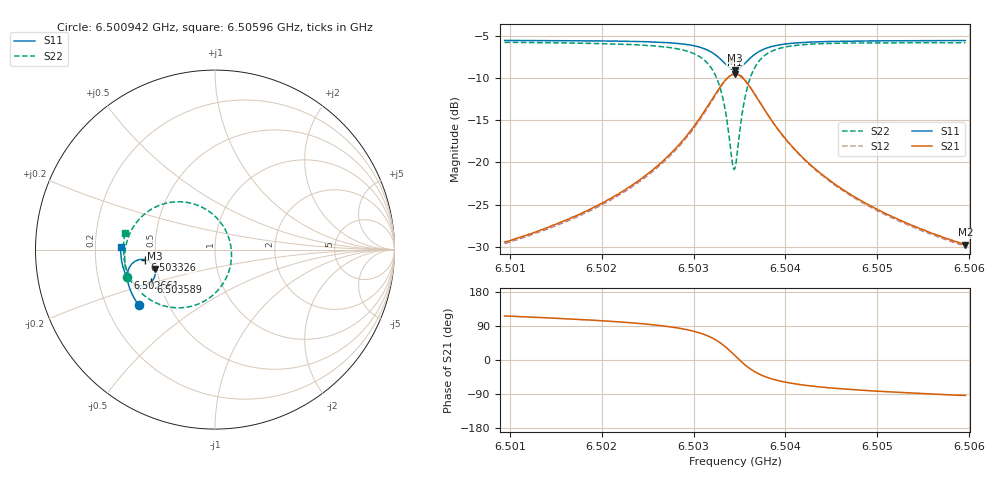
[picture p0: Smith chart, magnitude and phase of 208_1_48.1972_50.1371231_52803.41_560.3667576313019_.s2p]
#  HZ  S  RI  R  50.00
! Rohde & Schwarz Vector Network Analyzer
! Rohde-Schwarz,ZNB20-2Port,1311601062101988,3.16
! Created: UTC 3/20/2024, 11:45:19 AM
! freq[Hz]  re:S11  im:S11  re:S21  im:S21  re:S12  im:S12  re:S22  im:S22
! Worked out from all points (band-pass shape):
!   401 points, 6.500942 GHz to 6.50596 GHz, reference 50 ohm
!   highest |S21| = -9.56 dB at 6.503451 GHz (marker M1); lowest = -29.8 dB at 6.50596 GHz (marker M2)
!   |S21| within 3 dB of the highest: 6.5032 GHz to 6.503701 GHz (501.1 kHz wide, 0.0077 % of centre)
!   lowest |S11| = -9.1 dB at 6.503451 GHz (marker M3), VSWR 2.09, Z = 24.4 - j5.92 ohm
!   |S11| at or under -10 dB: nowhere
!   |S22| runs from -20.9 to -5.8 dB; largest |S21 - S12| = 0.012
!   S11 on the Smith chart (normalised r, x): 6.500942 GHz: 0.34, -0.29; 6.502661 GHz: 0.33, -0.14; 6.503326 GHz: 0.44, -0.06; 6.503589 GHz: 0.45, -0.19; 6.50596 GHz: 0.31, +0.01
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6.5009425e9  -0.426 -0.3095  -0.0148 0.0303  -0.0132 0.0302  -0.4898 -0.1547
6.5017829e9  -0.4621 -0.2473  -0.0143 0.0479  -0.0118 0.0475  -0.503 -0.0655
6.5022721e9  -0.4793 -0.2039  -0.0109 0.0689  -0.00787 0.0677  -0.4993 0.00471
6.5026233e9  -0.4874 -0.1646  -0.00228 0.0969  0.00139 0.0946  -0.4802 0.0758
6.5026609e9  -0.4877 -0.1596  -0.000492 0.1011  0.00333 0.0986  -0.4764 0.0853
6.5029369e9  -0.4837 -0.1167  0.0264 0.1439  0.0302 0.1393  -0.4204 0.1715
6.503125e9  -0.4621 -0.0785  0.081 0.1863  0.0836 0.18  -0.3158 0.2441
6.5032379e9  -0.4291 -0.0579  0.1508 0.2039  0.1516 0.1974  -0.1902 0.2664
6.5033257e9  -0.3884 -0.0563  0.2311 0.1872  0.2314 0.1822  -0.0515 0.2248
6.5034135e9  -0.3463 -0.0846  0.3082 0.1141  0.3106 0.1093  0.0712 0.0807
6.5034386e9  -0.3385 -0.0986  0.3214 0.0828  0.3246 0.0773  0.088 0.022
6.5034512e9  -0.3357 -0.1062  0.3258 0.0661  0.3291 0.0603  0.0916 -0.00888
6.5034762e9  -0.3328 -0.122  0.3292 0.0321  0.3328 0.025  0.0893 -0.0711
6.503539e9  -0.3401 -0.1596  0.3104 -0.0464  0.3125 -0.0567  0.0321 -0.2076
6.5035891e9  -0.3568 -0.1817  0.2763 -0.0924  0.276 -0.1037  -0.0455 -0.2788
6.5036895e9  -0.3968 -0.2006  0.1998 -0.1348  0.1946 -0.1449  -0.2015 -0.3245
6.5038525e9  -0.4452 -0.1927  0.1133 -0.1347  0.1063 -0.14  -0.3583 -0.2814
6.5040407e9  -0.4754 -0.17  0.0642 -0.1131  0.0578 -0.1152  -0.4385 -0.211
6.5042916e9  -0.4962 -0.1401  0.0341 -0.0883  0.0293 -0.0888  -0.4819 -0.1383
6.504693e9  -0.5125 -0.0983  0.0142 -0.0638  0.0109 -0.0634  -0.5051 -0.0591
6.505132e9  -0.5211 -0.0577  0.00505 -0.0484  0.00276 -0.0476  -0.5103 0.00243
6.5059598e9  -0.526 0.0123  -0.002 -0.0324  -0.00346 -0.0317  -0.5025 0.0902
